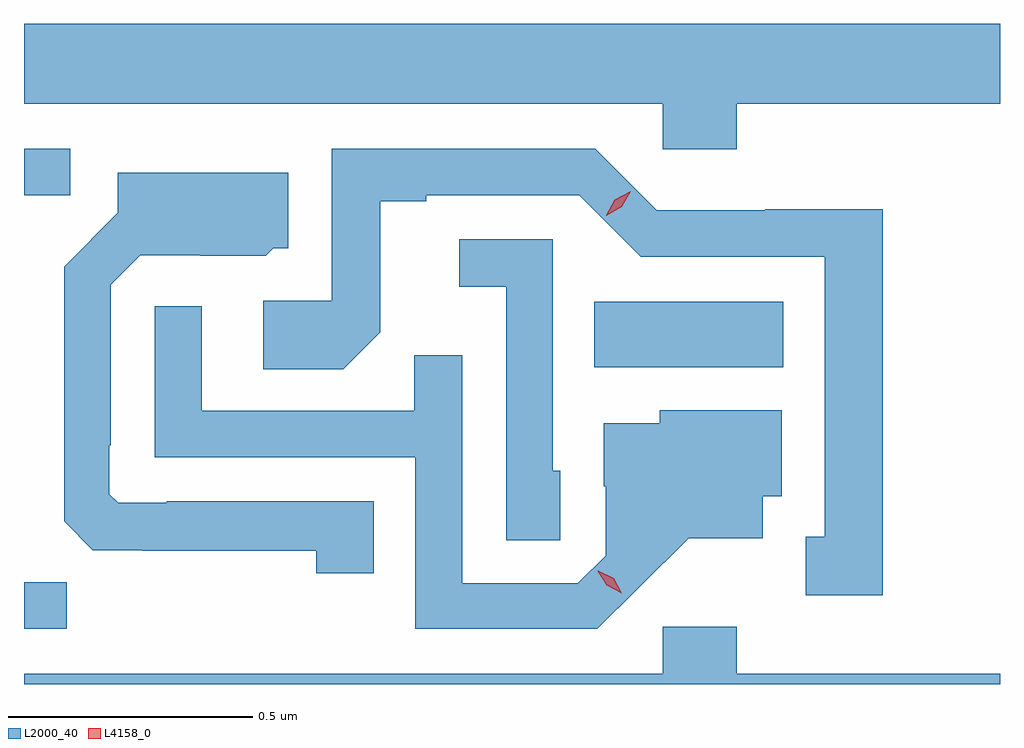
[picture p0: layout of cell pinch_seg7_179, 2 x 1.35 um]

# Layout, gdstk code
import gdstk
lib = gdstk.Library(unit=1e-6, precision=1e-09)
def R(c, l, rs):  # rectangles x0, y0, x1, y1
    for r in rs: c.add(gdstk.rectangle(r[:2], r[2:], *l))
def P(c, l, *ps):  # polygons
    for p in ps: c.add(gdstk.Polygon(p, *l))
L2000_40 = (2000, 40)
L4158_0 = (4158, 0)

pinch_seg7_179 = lib.new_cell('pinch_seg7_179')
R(pinch_seg7_179, L2000_40, [(1045.067,1020.852,1045.155,1020.947), (1046.236,1021.388,1046.623,1021.522), (1045.067,1021.74,1045.162,1021.836)])
P(pinch_seg7_179, L2000_40, [(1046.528,1021.928),(1047.067,1021.928),(1047.067,1022.092),(1045.067,1022.092),(1045.067,1021.928),(1046.376,1021.928),(1046.376,1021.835),(1046.528,1021.835)],
  [(1046.827,1021.712),(1046.586,1021.712),(1046.586,1021.71),(1046.364,1021.71),(1046.238,1021.836),(1045.698,1021.836),(1045.698,1021.524),(1045.557,1021.524),(1045.557,1021.384),(1045.721,1021.384),(1045.797,1021.46),(1045.797,1021.728),(1045.891,1021.728),(1045.891,1021.74),(1046.205,1021.74),(1046.331,1021.614),(1046.708,1021.614),(1046.708,1021.041),(1046.669,1021.041),(1046.669,1020.921),(1046.827,1020.921)],
  [(1045.784,1021.113),(1045.36,1021.113),(1045.36,1021.11),(1045.26,1021.11),(1045.242,1021.128),(1045.242,1021.228),(1045.245,1021.228),(1045.245,1021.557),(1045.305,1021.617),(1045.428,1021.617),(1045.428,1021.616),(1045.562,1021.616),(1045.578,1021.632),(1045.609,1021.632),(1045.609,1021.786),(1045.259,1021.786),(1045.259,1021.704),(1045.149,1021.594),(1045.149,1021.072),(1045.208,1021.013),(1045.309,1021.013),(1045.309,1021.012),(1045.666,1021.012),(1045.666,1020.966),(1045.784,1020.966)],
  [(1046.166,1021.176),(1046.151,1021.176),(1046.151,1021.65),(1045.959,1021.65),(1045.959,1021.553),(1046.055,1021.553),(1046.055,1021.033),(1046.166,1021.033)],
  [(1046.326,1020.935),(1046.429,1021.037),(1046.581,1021.037),(1046.581,1021.124),(1046.62,1021.124),(1046.62,1021.3),(1046.37,1021.3),(1046.37,1021.273),(1046.255,1021.273),(1046.255,1021.144),(1046.259,1021.144),(1046.259,1021.002),(1046.202,1020.945),(1045.965,1020.945),(1045.965,1021.412),(1045.867,1021.412),(1045.867,1021.299),(1045.431,1021.299),(1045.431,1021.513),(1045.335,1021.513),(1045.335,1021.203),(1045.869,1021.203),(1045.869,1020.852),(1046.242,1020.852)],
  [(1045.067,1020.738),(1047.067,1020.738),(1047.067,1020.76),(1046.528,1020.76),(1046.528,1020.856),(1046.376,1020.856),(1046.376,1020.76),(1045.067,1020.76)])
P(pinch_seg7_179, L4158_0, [(1046.26,1021.698),(1046.26,1021.699),(1046.278,1021.731),(1046.31,1021.749),(1046.31,1021.749),(1046.31,1021.749),(1046.292,1021.717),(1046.26,1021.698)],
  [(1046.292,1020.925),(1046.261,1020.941),(1046.243,1020.97),(1046.243,1020.971),(1046.244,1020.971),(1046.275,1020.955),(1046.292,1020.925),(1046.292,1020.925)])

lib.write_gds('pinch_seg7_179.gds')
